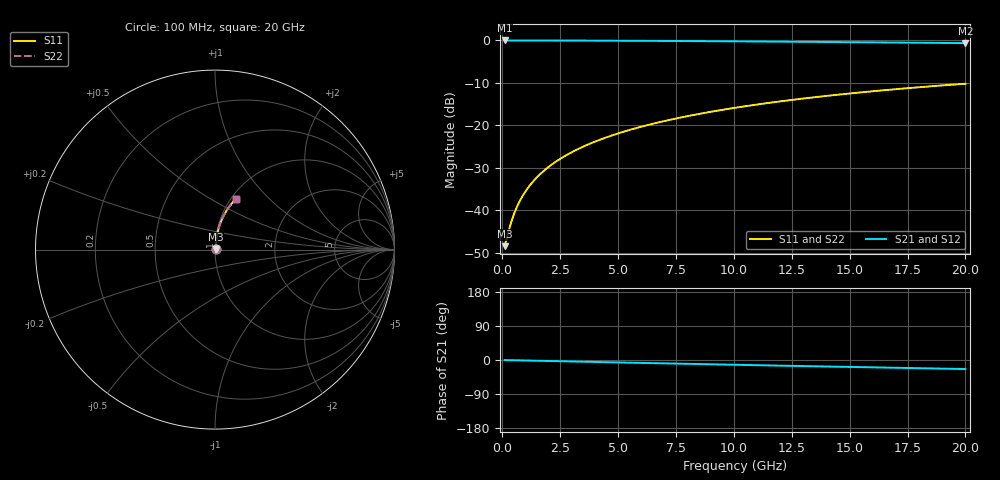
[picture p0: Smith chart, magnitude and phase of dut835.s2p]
! Touchstone file exported from HFSS 2024.1.0
!  File:  C:/UserFiles/LocalFiles/RDL_TSV_Batchsim/temp_RDL_bottom_835_1779863414.aedt
!  Generated:  02:33:07 PM May 27, 2026
!  Design:  RDL_bottom
!  Project:  temp_RDL_bottom_835_1779863414
!  Setup:  Setup1
!  Solution:  Sweep
! Variables:
!  dtsv = 10.80580581um
!  hbump = 3um
!  htsv = 69.52um
!  ldown = 265.15um
!  lrdl = 100um
!  p = 40
!  p1 = 44.15um
!  rhole = 1um
!  t = 450um
!  tdown = 2.68um
!  trdl = 3.915915916um
!  wdown = 10.85um
!  wrdl = 20um
# GHz S MA R 50.000000
! Terminal data exported
! Port[1] = RDL1_T1
! Port[2] = RDL1_T2
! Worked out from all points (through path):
!   200 points, 100 MHz to 20 GHz, reference 50 ohm
!   highest |S21| = -0.03 dB at 100 MHz (marker M1); lowest = -0.7 dB at 20 GHz (marker M2)
!   group delay of S21, straight-line fit = 3.31 ps
!   lowest |S11| = -48.5 dB at 100 MHz (marker M3), VSWR 1.01, Z = 50.3 + j0.166 ohm
!   |S11| at or under -10 dB: start of sweep to end of sweep
!   |S22| runs from -48.5 to -10.2 dB; largest |S21 - S12| = 3.1e-15
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0.1  0.003776 26.0  0.9966 -0.1  0.9966 -0.1  0.003776 26.0
! Gamma 0 0 0 0
! Port Impedance 50 0 50 0
0.3  0.006039 54.9  0.9965 -0.4  0.9965 -0.4  0.006039 54.9
0.4  0.007457 61.8  0.9965 -0.5  0.9965 -0.5  0.007457 61.8
0.5  0.008941 66.3  0.9964 -0.7  0.9964 -0.7  0.008941 66.3
0.6  0.01046 69.5  0.9963 -0.8  0.9963 -0.8  0.01046 69.5
0.7  0.01199 71.8  0.9963 -0.9  0.9963 -0.9  0.01199 71.8
0.9  0.01509 75.0  0.9961 -1.2  0.9961 -1.2  0.01509 75.0
1.2  0.01977 77.9  0.9958 -1.6  0.9958 -1.6  0.01977 77.9
1.4  0.0229 79.1  0.9957 -1.8  0.9957 -1.8  0.0229 79.1
1.7  0.02763 80.4  0.9954 -2.2  0.9954 -2.2  0.02763 80.4
2.2  0.03553 81.6  0.9948 -2.9  0.9948 -2.9  0.03553 81.6
2.8  0.04505 82.3  0.994 -3.6  0.994 -3.6  0.04505 82.3
3.5  0.0562 82.5  0.9929 -4.5  0.9929 -4.5  0.0562 82.5
4.2  0.06738 82.5  0.9915 -5.4  0.9915 -5.4  0.06738 82.5
5  0.08017 82.1  0.9897 -6.4  0.9897 -6.4  0.08017 82.1
5.9  0.09458 81.6  0.9874 -7.6  0.9874 -7.6  0.09458 81.6
6.8  0.109 80.9  0.9848 -8.7  0.9848 -8.7  0.109 80.9
8.3  0.133 79.6  0.9799 -10.5  0.9799 -10.5  0.133 79.6
10.1  0.1615 77.9  0.9733 -12.7  0.9733 -12.7  0.1615 77.9
13.4  0.2127 74.4  0.9595 -16.5  0.9595 -16.5  0.2127 74.4
16.7  0.2619 70.9  0.9439 -20.3  0.9439 -20.3  0.2618 70.9
20  0.3085 67.3  0.9271 -23.8  0.9271 -23.8  0.3085 67.3
